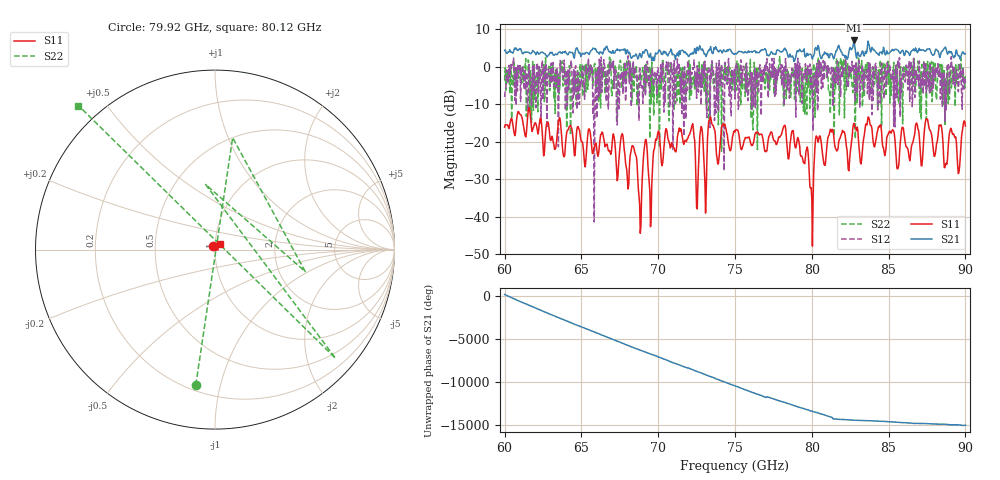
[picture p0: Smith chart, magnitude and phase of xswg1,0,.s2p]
!Created with skrf (http://scikit-rf.org).
# GHz S RI R 50.0
!freq ReS11 ImS11 ReS21 ImS21 ReS12 ImS12 ReS22 ImS22
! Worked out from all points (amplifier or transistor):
!   721 points, 60 GHz to 90 GHz, reference 50 ohm
!   highest |S21| = 7.0 dB at 82.75 GHz (marker M1)
!   |S21| within 3 dB of that: 86.92 GHz to 87.75 GHz (827 MHz wide, 0.947 % of centre)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
!   unconditionally stable (mu >= 1): 61.49677 GHz to 61.50294 GHz; 61.72333 GHz to 61.77756 GHz; 68.66621 GHz to 68.72968 GHz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
!   at 65 GHz: K = 0.48, MSG = 3.1 dB, |S12| = -3.1 dB
!   at 75 GHz: K = 0.87, MSG = 6.1 dB, |S12| = -8.6 dB
!   at 90 GHz: K = 0.51, MSG = 3.9 dB, |S12| = -4.4 dB
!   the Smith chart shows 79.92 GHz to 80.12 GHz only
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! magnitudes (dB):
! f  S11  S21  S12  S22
! 60 GHz  -16.1  4.4  -8.1  -3.7
! 65 GHz  -19.9  3.1  -3.1  -0.4
! 65.58 GHz  -17.8  4.1  0.9  -2.1
! 65.88 GHz  -20.9  4.7  -14.7  0.9
! 66.38 GHz  -17.5  3.4  -0.6  -2.1
! 68.38 GHz  -21.2  3.0  1.6  -0.3
! 68.83 GHz  -44.4  3.2  -1.8  -3.6
! 69.12 GHz  -20.7  4.2  0.3  0.2
! 69.5 GHz  -42.7  3.6  -2.1  -0.4
! 70 GHz  -17.2  3.9  -0.5  -8.1
! 72.21 GHz  -15.6  3.4  -1.9  -2.9
! 72.54 GHz  -37.9  5.2  0.3  -4.6
! 73.08 GHz  -39.0  3.4  -3.2  -2.0
! 73.38 GHz  -13.7  4.9  -16.2  -5.4
! 75 GHz  -17.4  3.5  -8.6  -5.8
! 78.75 GHz  -17.1  2.9  -2.0  -2.6
! 80 GHz  -35.1  2.7  -4.2  -5.7
! 80.38 GHz  -19.2  4.8  -11.7  -6.1
! 82.75 GHz  -15.1  7.0  0.4  -0.7
! 85 GHz  -17.7  3.6  -1.1  -4.7
! 89.58 GHz  -28.0  3.0  -4.2  -0.8
! 90 GHz  -15.8  3.5  -4.4  -1.9
